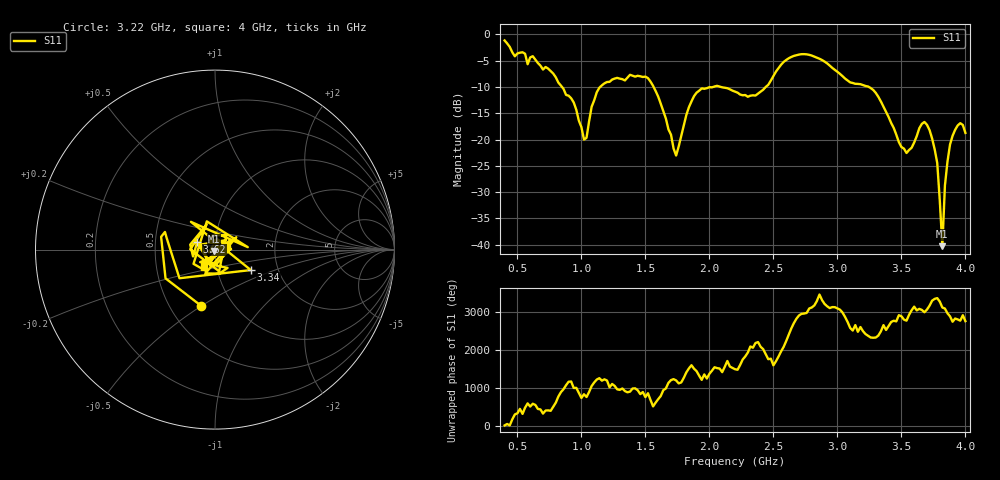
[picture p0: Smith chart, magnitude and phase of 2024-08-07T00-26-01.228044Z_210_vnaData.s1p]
!Created with skrf (http://scikit-rf.org).
# Hz S RI R 50.0
!freq ReS11 ImS11
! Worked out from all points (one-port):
!   181 points, 400 MHz to 4 GHz, reference 50 ohm
!   lowest |S11| = -40.3 dB at 3.82 GHz (marker M1), VSWR 1.02, Z = 49.4 - j0.762 ohm
!   |S11| at or under -10 dB: 1.564 GHz to 2.03 GHz (466.1 MHz wide, 25.9 % of centre); 2.089 GHz to 2.441 GHz (351.9 MHz wide, 15.5 % of centre); 3.245 GHz to end of sweep (the widest 3 of 4)
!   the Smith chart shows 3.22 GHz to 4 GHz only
!   S11 on the Smith chart (normalised r, x): 3.22 GHz: 0.71, -0.50; 3.34 GHz: 1.45, -0.35; 3.62 GHz: 0.82, +0.07; 4 GHz: 0.86, -0.17
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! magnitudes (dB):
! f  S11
! 400 MHz  -1.2
! 860 MHz  -10.4
! 940 MHz  -13.0
! 1.02 GHz  -20.0
! 1.14 GHz  -10.2
! 1.3 GHz  -8.4
! 1.52 GHz  -8.3
! 1.6 GHz  -11.8
! 1.74 GHz  -23.1
! 1.76 GHz  -21.3
! 1.9 GHz  -11.1
! 2.2 GHz  -10.9
! 2.36 GHz  -11.6
! 2.66 GHz  -4.1
! 3.1 GHz  -9.1
! 3.22 GHz  -9.8
! 3.34 GHz  -12.8
! 3.5 GHz  -21.4
! 3.56 GHz  -22.0
! 3.62 GHz  -19.4
! 3.68 GHz  -16.7
! 3.76 GHz  -21.9
! 3.78 GHz  -24.5
! 3.82 GHz  -40.3
! 3.84 GHz  -28.8
! 3.88 GHz  -20.9
! 3.96 GHz  -16.9
! 4 GHz  -18.7
